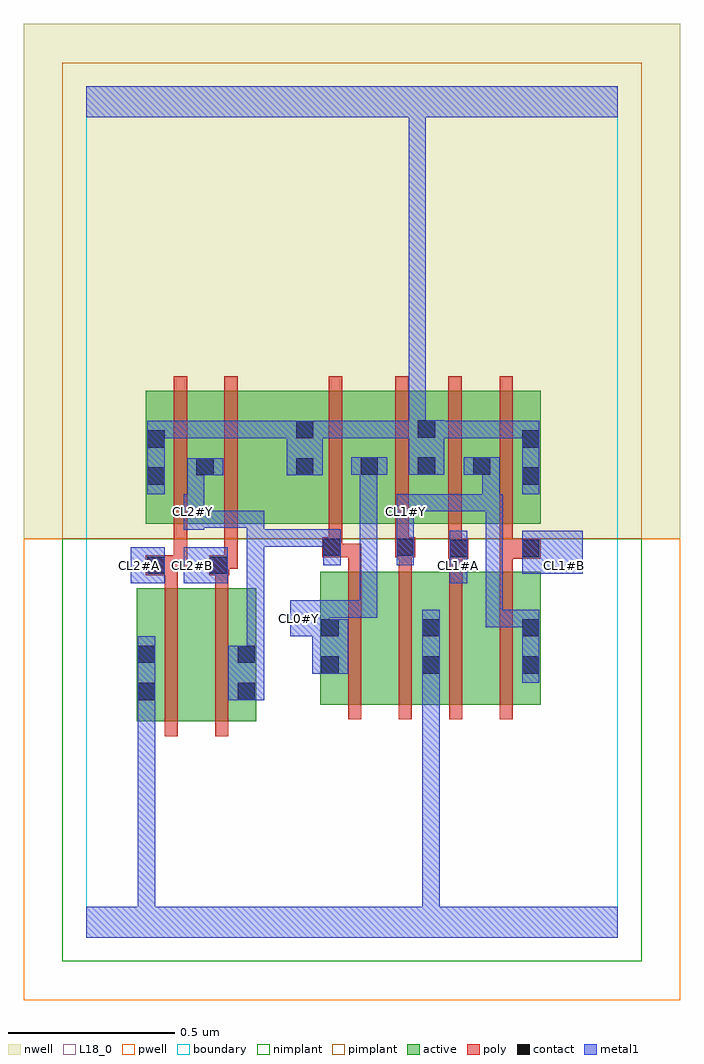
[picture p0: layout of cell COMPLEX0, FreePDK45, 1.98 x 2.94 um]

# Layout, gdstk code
import gdstk
lib = gdstk.Library(unit=1e-6, precision=1e-09)
def R(c, l, rs):  # rectangles x0, y0, x1, y1
    for r in rs: c.add(gdstk.rectangle(r[:2], r[2:], *l))
def A(c, l, x, y, w, h, nx, ny, dx, dy):  # array of equal rectangles
    R(c, l, [(x+i*dx, y+j*dy, x+i*dx+w, y+j*dy+h) for i in range(nx) for j in range(ny)])
active = (1, 0)
pwell = (2, 0)
nwell = (3, 0)
nimplant = (4, 0)
pimplant = (5, 0)
poly = (9, 0)
contact = (10, 0)
metal1 = (11, 0)
L18_0 = (18, 0)
boundary = (235, 0)

complex0 = lib.new_cell('COMPLEX0')
R(complex0, active, [(0.152,0.65,0.212,1.05), (0.152,0.65,0.332,1.05), (0.332,0.65,0.512,1.05), (0.452,0.65,0.512,1.05), (0.704,0.7,0.764,1.1), (0.704,0.7,0.884,1.1), (0.884,0.7,1.068,1.1), (1.008,0.7,1.188,1.1), (1.008,0.7,1.068,0.962), (1.188,0.7,1.368,1.1), (1.308,0.7,1.368,1.1), (0.18,1.244,0.24,1.644), (0.18,1.244,0.388,1.644), (0.328,1.244,0.688,1.644), (0.628,1.244,0.882,1.644), (0.822,1.244,1.054,1.644), (0.994,1.244,1.22,1.644), (1.16,1.244,1.368,1.644), (1.308,1.244,1.368,1.644), (0.328,1.386,0.388,1.644), (0.628,1.386,0.688,1.644), (0.822,1.388,0.882,1.644), (0.994,1.388,1.054,1.644), (1.16,1.388,1.22,1.644)])
R(complex0, pwell, [(-0.188,-0.188,1.788,1.2)])
R(complex0, nwell, [(-0.188,1.2,1.788,2.748)])
R(complex0, nimplant, [(-0.072,-0.072,1.672,1.2)])
R(complex0, pimplant, [(-0.072,1.2,1.672,2.632)])
A(complex0, poly, 0.788, 0.656, 0.04, 0.488, 4, 1, 0.152, 0)
R(complex0, poly, [(0.236,0.606,0.276,1.094), (0.388,0.606,0.428,1.094), (0.236,1.054,0.276,1.13), (0.388,1.054,0.428,1.13), (0.18,1.09,0.276,1.15), (0.37,1.09,0.43,1.15), (0.788,1.104,0.828,1.184), (0.94,1.104,0.98,1.184), (1.092,1.104,1.132,1.18), (1.244,1.104,1.284,1.18), (0.236,1.11,0.276,1.15), (0.236,1.11,0.304,1.15), (0.264,1.11,0.304,1.24), (0.39,1.11,0.43,1.15), (0.39,1.11,0.456,1.15), (0.416,1.11,0.456,1.24), (1.09,1.14,1.15,1.2), (1.244,1.14,1.368,1.2), (0.71,1.144,0.77,1.204), (0.73,1.144,0.77,1.184), (0.73,1.144,0.828,1.184), (0.93,1.144,0.99,1.204), (0.94,1.144,0.98,1.184), (0.94,1.144,0.98,1.184), (1.09,1.16,1.13,1.24), (1.09,1.16,1.13,1.2), (1.09,1.16,1.13,1.2), (1.244,1.16,1.284,1.24), (1.244,1.16,1.284,1.2), (1.244,1.16,1.284,1.2), (0.73,1.164,0.77,1.24), (0.93,1.164,0.97,1.24), (0.264,1.2,0.304,1.688), (0.416,1.2,0.456,1.688), (0.73,1.2,0.77,1.688), (0.93,1.2,0.97,1.688), (1.09,1.2,1.13,1.688), (1.244,1.2,1.284,1.688)])
R(complex0, contact, [(0.156,0.714,0.208,0.766), (0.456,0.714,0.508,0.766), (0.708,0.794,0.76,0.846), (1.012,0.794,1.064,0.846), (1.312,0.794,1.364,0.846), (0.156,0.826,0.208,0.878), (0.456,0.826,0.508,0.878), (0.708,0.906,0.76,0.958), (1.012,0.906,1.064,0.958), (1.312,0.906,1.364,0.958), (0.184,1.094,0.236,1.146), (0.374,1.094,0.426,1.146), (1.094,1.144,1.146,1.196), (1.312,1.144,1.364,1.196), (0.714,1.148,0.766,1.2), (0.934,1.148,0.986,1.2), (0.184,1.362,0.236,1.414), (1.312,1.362,1.364,1.414), (0.332,1.39,0.384,1.442), (0.632,1.39,0.684,1.442), (0.826,1.392,0.878,1.444), (0.998,1.392,1.05,1.444), (1.164,1.392,1.216,1.444), (0.184,1.474,0.236,1.526), (1.312,1.474,1.364,1.526), (0.632,1.502,0.684,1.554), (0.998,1.504,1.05,1.556)])
R(complex0, metal1, [(0,0,1.6,0.092), (0.156,0.04,0.208,0.092), (0.156,0.04,0.208,0.092), (0.156,0.04,0.208,0.092), (0.156,0.04,0.208,0.092), (0.156,0.04,0.208,0.092), (0.156,0.04,0.208,0.092), (0.156,0.04,0.208,0.092), (0.156,0.04,0.208,0.092), (0.156,0.04,0.208,0.092), (0.156,0.04,0.208,0.092), (0.156,0.04,0.208,0.092), (0.156,0.04,0.208,0.092), (0.156,0.04,0.208,0.738), (1.012,0.04,1.064,0.092), (1.012,0.04,1.064,0.092), (1.012,0.04,1.064,0.092), (1.012,0.04,1.064,0.092), (1.012,0.04,1.064,0.092), (1.012,0.04,1.064,0.092), (1.012,0.04,1.064,0.092), (1.012,0.04,1.064,0.092), (1.012,0.04,1.064,0.092), (1.012,0.04,1.064,0.092), (1.012,0.04,1.064,0.092), (1.012,0.04,1.064,0.092), (1.012,0.04,1.064,0.818), (0.156,0.686,0.208,0.906), (0.428,0.714,0.536,0.878), (1.012,0.766,1.064,0.986), (1.312,0.766,1.364,0.986), (0.68,0.794,0.788,0.958), (0.484,0.826,0.536,0.878), (0.484,0.826,0.536,0.878), (0.484,0.826,0.536,1.228), (0.614,0.906,0.732,1.014), (0.68,0.906,0.732,0.958), (1.202,0.934,1.254,0.986), (1.202,0.934,1.364,0.986), (1.202,0.934,1.254,1.334), (1.312,0.934,1.364,0.986), (1.312,0.934,1.364,0.986), (0.68,0.962,0.876,1.014), (0.824,0.962,0.876,1.06), (0.824,1.008,0.876,1.06), (0.824,1.008,0.876,1.06), (0.824,1.008,0.876,1.06), (0.824,1.008,0.876,1.06), (0.824,1.008,0.876,1.444), (0.134,1.066,0.236,1.174), (0.294,1.066,0.426,1.174), (1.094,1.066,1.146,1.224), (1.312,1.094,1.494,1.224), (0.714,1.12,0.766,1.228), (0.934,1.12,0.986,1.334), (0.484,1.176,0.536,1.228), (0.484,1.176,0.536,1.228), (0.484,1.176,0.766,1.228), (0.484,1.176,0.536,1.284), (0.294,1.226,0.356,1.334), (0.304,1.232,0.356,1.284), (0.304,1.232,0.356,1.284), (0.304,1.232,0.536,1.284), (0.304,1.282,0.356,1.442), (0.934,1.282,0.986,1.334), (0.934,1.282,0.986,1.334), (0.934,1.282,1.244,1.334), (1.192,1.282,1.244,1.334), (1.192,1.282,1.244,1.334), (1.192,1.282,1.244,1.444), (1.192,1.282,1.254,1.334), (1.202,1.282,1.254,1.334), (1.202,1.282,1.254,1.334), (0.184,1.334,0.236,1.554), (1.312,1.334,1.364,1.554), (0.304,1.39,0.412,1.442), (0.604,1.39,0.712,1.554), (0.798,1.392,0.906,1.444), (0.97,1.392,1.078,1.556), (1.136,1.392,1.244,1.444), (0.184,1.502,0.236,1.554), (0.184,1.502,0.236,1.554), (0.184,1.502,0.346,1.554), (0.294,1.502,0.346,1.554), (0.294,1.502,0.346,1.554), (0.294,1.502,0.346,1.554), (0.294,1.502,0.656,1.554), (0.604,1.502,0.656,1.554), (0.604,1.502,0.656,1.554), (0.66,1.502,0.876,1.554), (0.824,1.502,0.876,1.554), (0.824,1.502,0.876,1.554), (0.824,1.502,0.876,1.554), (0.824,1.502,1.022,1.554), (0.97,1.502,1.022,1.554), (0.97,1.502,1.022,1.554), (1.026,1.502,1.254,1.554), (1.202,1.502,1.254,1.554), (1.202,1.502,1.254,1.554), (1.202,1.502,1.254,1.554), (1.202,1.502,1.364,1.554), (1.312,1.502,1.364,1.554), (1.312,1.502,1.364,1.554), (0.97,1.504,1.022,2.52), (0,2.468,1.6,2.56), (0.97,2.468,1.022,2.52), (0.97,2.468,1.022,2.52), (0.97,2.468,1.022,2.52), (0.97,2.468,1.022,2.52), (0.97,2.468,1.022,2.52), (0.97,2.468,1.022,2.52), (0.97,2.468,1.022,2.52), (0.97,2.468,1.022,2.52), (0.97,2.468,1.022,2.52), (0.97,2.468,1.022,2.52), (0.97,2.468,1.022,2.52), (0.97,2.468,1.022,2.52), (0.97,2.468,1.022,2.52), (0.97,2.468,1.022,2.52), (0.97,2.468,1.022,2.52), (0.97,2.468,1.022,2.52)])
R(complex0, L18_0, [(0,0,1.6,0.092), (0.156,0.04,0.208,0.092), (0.156,0.04,0.208,0.092), (0.156,0.04,0.208,0.092), (0.156,0.04,0.208,0.092), (0.156,0.04,0.208,0.092), (0.156,0.04,0.208,0.092), (0.156,0.04,0.208,0.092), (0.156,0.04,0.208,0.092), (0.156,0.04,0.208,0.092), (0.156,0.04,0.208,0.092), (0.156,0.04,0.208,0.092), (0.156,0.04,0.208,0.092), (0.156,0.04,0.208,0.738), (1.012,0.04,1.064,0.092), (1.012,0.04,1.064,0.092), (1.012,0.04,1.064,0.092), (1.012,0.04,1.064,0.092), (1.012,0.04,1.064,0.092), (1.012,0.04,1.064,0.092), (1.012,0.04,1.064,0.092), (1.012,0.04,1.064,0.092), (1.012,0.04,1.064,0.092), (1.012,0.04,1.064,0.092), (1.012,0.04,1.064,0.092), (1.012,0.04,1.064,0.092), (1.012,0.04,1.064,0.818), (0.156,0.686,0.208,0.906), (0.428,0.714,0.536,0.878), (1.012,0.766,1.064,0.986), (1.312,0.766,1.364,0.986), (0.68,0.794,0.788,0.958), (0.484,0.826,0.536,0.878), (0.484,0.826,0.536,0.878), (0.484,0.826,0.536,1.228), (0.614,0.906,0.732,1.014), (0.68,0.906,0.732,0.958), (0.614,0.934,0.666,0.986), (1.202,0.934,1.254,0.986), (1.202,0.934,1.364,0.986), (1.202,0.934,1.254,1.334), (1.312,0.934,1.364,0.986), (1.312,0.934,1.364,0.986), (0.68,0.962,0.876,1.014), (0.824,0.962,0.876,1.06), (0.824,1.008,0.876,1.06), (0.824,1.008,0.876,1.06), (0.824,1.008,0.876,1.06), (0.824,1.008,0.876,1.06), (0.824,1.008,0.876,1.444), (0.134,1.066,0.236,1.174), (0.294,1.066,0.426,1.174), (1.094,1.066,1.146,1.224), (0.134,1.094,0.186,1.146), (0.294,1.094,0.346,1.146), (1.094,1.094,1.146,1.146), (1.312,1.094,1.494,1.224), (1.414,1.094,1.466,1.146), (0.714,1.12,0.766,1.228), (0.934,1.12,0.986,1.334), (0.484,1.176,0.536,1.228), (0.484,1.176,0.536,1.228), (0.484,1.176,0.536,1.284), (0.484,1.176,0.766,1.228), (0.294,1.226,0.356,1.334), (0.304,1.232,0.356,1.284), (0.304,1.232,0.356,1.284), (0.304,1.232,0.536,1.284), (0.294,1.254,0.346,1.306), (0.934,1.254,0.986,1.306), (0.304,1.282,0.356,1.442), (0.934,1.282,0.986,1.334), (0.934,1.282,0.986,1.334), (0.934,1.282,1.244,1.334), (1.192,1.282,1.244,1.334), (1.192,1.282,1.244,1.334), (1.192,1.282,1.254,1.334), (1.192,1.282,1.244,1.444), (1.202,1.282,1.254,1.334), (1.202,1.282,1.254,1.334), (0.184,1.334,0.236,1.554), (1.312,1.334,1.364,1.554), (0.304,1.39,0.412,1.442), (0.604,1.39,0.712,1.554), (0.798,1.392,0.906,1.444), (0.97,1.392,1.078,1.556), (1.136,1.392,1.244,1.444), (0.184,1.502,0.236,1.554), (0.184,1.502,0.236,1.554), (0.184,1.502,0.346,1.554), (0.294,1.502,0.346,1.554), (0.294,1.502,0.346,1.554), (0.294,1.502,0.346,1.554), (0.294,1.502,0.656,1.554), (0.604,1.502,0.656,1.554), (0.604,1.502,0.656,1.554), (0.66,1.502,0.876,1.554), (0.824,1.502,0.876,1.554), (0.824,1.502,0.876,1.554), (0.824,1.502,0.876,1.554), (0.824,1.502,1.022,1.554), (0.97,1.502,1.022,1.554), (0.97,1.502,1.022,1.554), (1.026,1.502,1.254,1.554), (1.202,1.502,1.254,1.554), (1.202,1.502,1.254,1.554), (1.202,1.502,1.254,1.554), (1.202,1.502,1.364,1.554), (1.312,1.502,1.364,1.554), (1.312,1.502,1.364,1.554), (0.97,1.504,1.022,2.52), (0,2.468,1.6,2.56), (0.97,2.468,1.022,2.52), (0.97,2.468,1.022,2.52), (0.97,2.468,1.022,2.52), (0.97,2.468,1.022,2.52), (0.97,2.468,1.022,2.52), (0.97,2.468,1.022,2.52), (0.97,2.468,1.022,2.52), (0.97,2.468,1.022,2.52), (0.97,2.468,1.022,2.52), (0.97,2.468,1.022,2.52), (0.97,2.468,1.022,2.52), (0.97,2.468,1.022,2.52), (0.97,2.468,1.022,2.52), (0.97,2.468,1.022,2.52), (0.97,2.468,1.022,2.52), (0.97,2.468,1.022,2.52)])
R(complex0, boundary, [(0,0,1.6,2.56)])
complex0.add(gdstk.Label('CL0#Y', (0.64,0.96), layer=11, texttype=0))
complex0.add(gdstk.Label('CL1#A', (1.12,1.12), layer=11, texttype=0))
complex0.add(gdstk.Label('CL1#B', (1.44,1.12), layer=11, texttype=0))
complex0.add(gdstk.Label('CL1#Y', (0.96,1.28), layer=11, texttype=0))
complex0.add(gdstk.Label('CL2#A', (0.16,1.12), layer=11, texttype=0))
complex0.add(gdstk.Label('CL2#B', (0.32,1.12), layer=11, texttype=0))
complex0.add(gdstk.Label('CL2#Y', (0.32,1.28), layer=11, texttype=0))

lib.write_gds('COMPLEX0.gds')
